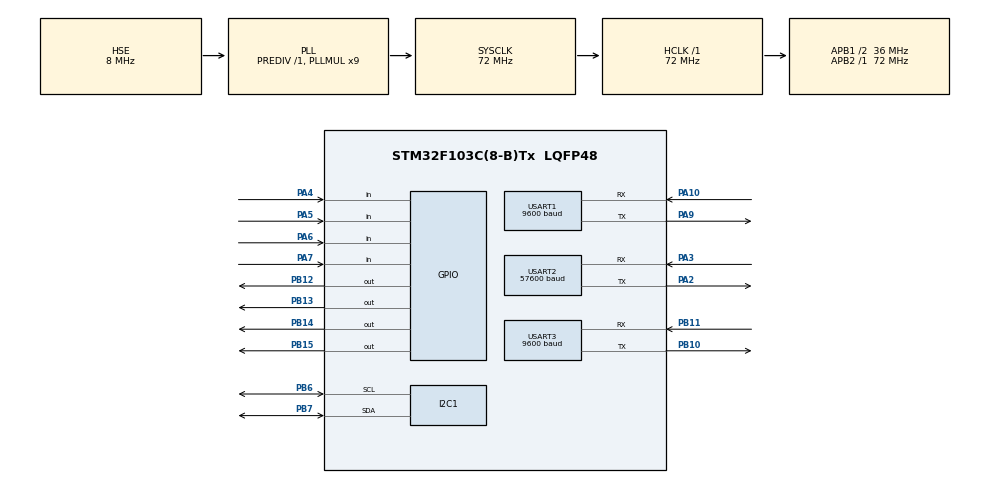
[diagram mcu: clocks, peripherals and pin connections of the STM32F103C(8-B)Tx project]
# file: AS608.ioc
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Mcu.Family=STM32F1
Mcu.Name=STM32F103C(8-B)Tx
Mcu.Package=LQFP48
NVIC.PriorityGroup=NVIC_PRIORITYGROUP_4
NVIC.TIM3_IRQn=true\:0\:0\:false\:false\:true\:true\:true\:true
NVIC.USART1_IRQn=true\:0\:0\:false\:false\:true\:true\:true\:true
NVIC.USART2_IRQn=true\:3\:0\:true\:false\:true\:true\:true\:true
NVIC.USART3_IRQn=true\:0\:0\:true\:false\:true\:true\:true\:true
PA10.Mode=Asynchronous
PA10.Signal=USART1_RX
PA13.Mode=Serial_Wire
PA13.Signal=SYS_JTMS-SWDIO
PA14.Mode=Serial_Wire
PA14.Signal=SYS_JTCK-SWCLK
PA2.Mode=Asynchronous
PA2.Signal=USART2_TX
PA3.Mode=Asynchronous
PA3.Signal=USART2_RX
PA4.GPIO_PuPd=GPIO_PULLUP
PA4.Signal=GPIO_Input
PA5.GPIO_PuPd=GPIO_PULLUP
PA5.Signal=GPIO_Input
PA6.GPIO_PuPd=GPIO_PULLUP
PA6.Signal=GPIO_Input
PA7.GPIO_PuPd=GPIO_PULLUP
PA7.Signal=GPIO_Input
PA9.Mode=Asynchronous
PA9.Signal=USART1_TX
PB10.Mode=Asynchronous
PB10.Signal=USART3_TX
PB11.Mode=Asynchronous
PB11.Signal=USART3_RX
PB12.PinState=GPIO_PIN_SET
PB12.Signal=GPIO_Output
PB13.PinState=GPIO_PIN_SET
PB13.Signal=GPIO_Output
PB14.PinState=GPIO_PIN_SET
PB14.Signal=GPIO_Output
PB15.PinState=GPIO_PIN_SET
PB15.Signal=GPIO_Output
PB6.Mode=I2C
PB6.Signal=I2C1_SCL
PB7.Mode=I2C
PB7.Signal=I2C1_SDA
PC14-OSC32_IN.Mode=LSE-External-Oscillator
PC14-OSC32_IN.Signal=RCC_OSC32_IN
PC15-OSC32_OUT.Mode=LSE-External-Oscillator
PC15-OSC32_OUT.Signal=RCC_OSC32_OUT
PD0-OSC_IN.Mode=HSE-External-Oscillator
PD0-OSC_IN.Signal=RCC_OSC_IN
PD1-OSC_OUT.Mode=HSE-External-Oscillator
PD1-OSC_OUT.Signal=RCC_OSC_OUT
ProjectManager.HeapSize=0x200
ProjectManager.StackSize=0x400
ProjectManager.TargetToolchain=MDK-ARM V5.32
RCC.AHBFreq_Value=72000000
RCC.APB1CLKDivider=RCC_HCLK_DIV2
RCC.APB1Freq_Value=36000000
RCC.APB1TimFreq_Value=72000000
RCC.APB2Freq_Value=72000000
RCC.APB2TimFreq_Value=72000000
RCC.HCLKFreq_Value=72000000
RCC.PLLMUL=RCC_PLL_MUL9
RCC.PLLSourceVirtual=RCC_PLLSOURCE_HSE
RCC.SYSCLKFreq_VALUE=72000000
RCC.SYSCLKSource=RCC_SYSCLKSOURCE_PLLCLK
RCC.USBFreq_Value=72000000
TIM3.Period=1000-1
TIM3.Prescaler=7200-1
USART1.BaudRate=9600
USART1.VirtualMode=VM_ASYNC
USART2.BaudRate=57600
USART2.VirtualMode=VM_ASYNC
USART3.BaudRate=9600
USART3.VirtualMode=VM_ASYNC
VP_TIM3_VS_ClockSourceINT.Mode=Internal
board=custom

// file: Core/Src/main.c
/* USER CODE BEGIN Header */
/**
  ******************************************************************************
  * @file           : main.c
  * @brief          : Main program body
  ******************************************************************************
  * @attention
  *
  * Copyright (c) 2024 STMicroelectronics.
  * All rights reserved.
  *
  * This software is licensed under terms that can be found in the LICENSE file
  * in the root directory of this software component.
  * If no LICENSE file comes with this software, it is provided AS-IS.
  *
  ******************************************************************************
  */
/* USER CODE END Header */
#include "main.h"
#include "i2c.h"
#include "tim.h"
#include "usart.h"
#include "gpio.h"

/* USER CODE BEGIN Includes */
#include "stdio.h"
#include "AS608.h"
#include "oled.h"
#include "key.h"
#include "string.h"
#include "hhStore.h"
#include "menu.h"
#include "myusart.h"
#include "string.h"
#include "SYN6288.h"

/* USER CODE END Includes */

/* USER CODE BEGIN PM */

void key_show(void);
int keynum0;

/* USER CODE END PM */

void SystemClock_Config(void);
/* USER CODE BEGIN PFP */

int fputc(int c, FILE* stream)
{
	uint8_t ch[]={c};
	HAL_UART_Transmit(&huart1,ch,1,0xffff);
	return c;
}

//uint8_t SYN_StopCom[] = {0xFD, 0X00, 0X02, 0X02, 0XFD}; //停止合成
//uint8_t SYN_SuspendCom[] = {0XFD, 0X00, 0X02, 0X03, 0XFC}; //暂停合成
//uint8_t SYN_RecoverCom[] = {0XFD, 0X00, 0X02, 0X04, 0XFB}; //恢复合成
//uint8_t SYN_ChackCom[] = {0XFD, 0X00, 0X02, 0X21, 0XDE}; //状态查询
//uint8_t SYN_PowerDownCom[] = {0XFD, 0X00, 0X02, 0X88, 0X77}; //进入POWER DOWN状态命令

//uint8_t SYN_StopCom[] = {0xFD, 0X00, 0X02, 0X02, 0XFD}; //停止合成
//uint8_t SYN_SuspendCom[] = {0XFD, 0X00, 0X02, 0X03, 0XFC}; //暂停合成
//uint8_t SYN_RecoverCom[] = {0XFD, 0X00, 0X02, 0X04, 0XFB}; //恢复合成
//uint8_t SYN_ChackCom[] = {0XFD, 0X00, 0X02, 0X21, 0XDE}; //状态查询
//uint8_t SYN_PowerDownCom[] = {0XFD, 0X00, 0X02, 0X88, 0X77}; //进入POWER DOWN 状态命令

/* USER CODE END PFP */

int main(void)
{

  /* MCU Configuration--------------------------------------------------------*/

  /* Reset of all peripherals, Initializes the Flash interface and the Systick. */
  HAL_Init();

  /* Configure the system clock */
  SystemClock_Config();

  /* Initialize all configured peripherals */
  MX_GPIO_Init();
  MX_USART3_UART_Init();
  MX_USART1_UART_Init();
  MX_I2C1_Init();
  MX_USART2_UART_Init();
  MX_TIM3_Init();
  /* USER CODE BEGIN 2 */
    OLED_Init();

    //EEPROM初始化
    Store_Init();

    HAL_UART_Receive_IT(&huart3, (uint8_t *)&receive_dat, 1); // 启动串口接收中断

    //接收蓝牙发送的数据
    HAL_UART_Receive_IT(&huart1, (uint8_t *)&receive_dat1, 1); // 启动接收中断

    HAL_TIM_Base_Start_IT(&htim3);//打开定时器3中断
    //初始化指纹模块
    PS_StaGPIO_Init();

    //清空flash缓存
//    Store_Clear();
//    Del_FR_Lib();

    OLED_CLS();

    //显示解锁密码和管理员密码
//      for(uint16_t i=1;i<19;i++)
//      {
//          uint16_t value1 = MyFLASH_ReadHalfWord(STORE_START_ADDRESS+i*2);
//         // uint16_t value2 = MyFLASH_ReadWord(STORE_ADMIN_ADDRESS+(i-1)*2);
//          if(i<7){
//            OLED_ShowNum(0+16*(i-1),0,value1,2,16);
//            //OLED_ShowNum(0+16*(i-1),0,Store_Data[i-1],2,16);
//          }
//          else if(i>=7&&i<13)
//          {
//              OLED_ShowNum(0+16*(i-7),2,value1,2,16);
//          }
//          else if(i==13)
//          {
//              OLED_ShowNum(0+16*(i-13),4,value1,2,16);
//          }
//          else if(i>=14&&i<17)
//          {
//              OLED_ShowNum(0+16*(i-14),6,value1,2,16);
//          }
//      }

  /* USER CODE END 2 */

  /* Infinite loop */
  while (1)
  {

    /* USER CODE BEGIN 3 */
       //Add_FR();//添加指纹,默认ID为1
		//press_FR();//刷指纹测试
		//Del_FR_Lib();//删除指纹库

      view_display();
      key_display();
      //将门锁状态发送到APP上
      //usart1_disp();

      if(uart1_rx_len!=0)
      {
          int temp=uart1_rx_len;
          HAL_Delay(2);
          if(temp==uart1_rx_len)
              usart_disp();
      }
  }
  /* USER CODE END 3 */
}

void SystemClock_Config(void)
{
  RCC_OscInitTypeDef RCC_OscInitStruct = {0};
  RCC_ClkInitTypeDef RCC_ClkInitStruct = {0};

  /** Initializes the RCC Oscillators according to the specified parameters
  * in the RCC_OscInitTypeDef structure.
  */
  RCC_OscInitStruct.OscillatorType = RCC_OSCILLATORTYPE_HSE;
  RCC_OscInitStruct.HSEState = RCC_HSE_ON;
  RCC_OscInitStruct.HSEPredivValue = RCC_HSE_PREDIV_DIV1;
  RCC_OscInitStruct.HSIState = RCC_HSI_ON;
  RCC_OscInitStruct.PLL.PLLState = RCC_PLL_ON;
  RCC_OscInitStruct.PLL.PLLSource = RCC_PLLSOURCE_HSE;
  RCC_OscInitStruct.PLL.PLLMUL = RCC_PLL_MUL9;
  if (HAL_RCC_OscConfig(&RCC_OscInitStruct) != HAL_OK)
  {
    Error_Handler();
  }

  /** Initializes the CPU, AHB and APB buses clocks
  */
  RCC_ClkInitStruct.ClockType = RCC_CLOCKTYPE_HCLK|RCC_CLOCKTYPE_SYSCLK
                              |RCC_CLOCKTYPE_PCLK1|RCC_CLOCKTYPE_PCLK2;
  RCC_ClkInitStruct.SYSCLKSource = RCC_SYSCLKSOURCE_PLLCLK;
  RCC_ClkInitStruct.AHBCLKDivider = RCC_SYSCLK_DIV1;
  RCC_ClkInitStruct.APB1CLKDivider = RCC_HCLK_DIV2;
  RCC_ClkInitStruct.APB2CLKDivider = RCC_HCLK_DIV1;

  if (HAL_RCC_ClockConfig(&RCC_ClkInitStruct, FLASH_LATENCY_2) != HAL_OK)
  {
    Error_Handler();
  }
}

/* USER CODE BEGIN 4 */

void key_show(void)
{
    keynum0=button4_4_Scan();
    if(keynum0!=0)
    OLED_ShowNum(60,4,keynum0,2,16);
    if(keynum0==2)
    {
        Store_Data[1]=7;
            Store_Save();
    }
}

/* USER CODE END 4 */

void Error_Handler(void)
{
  __disable_irq();
  while (1)
  {
  }
}
